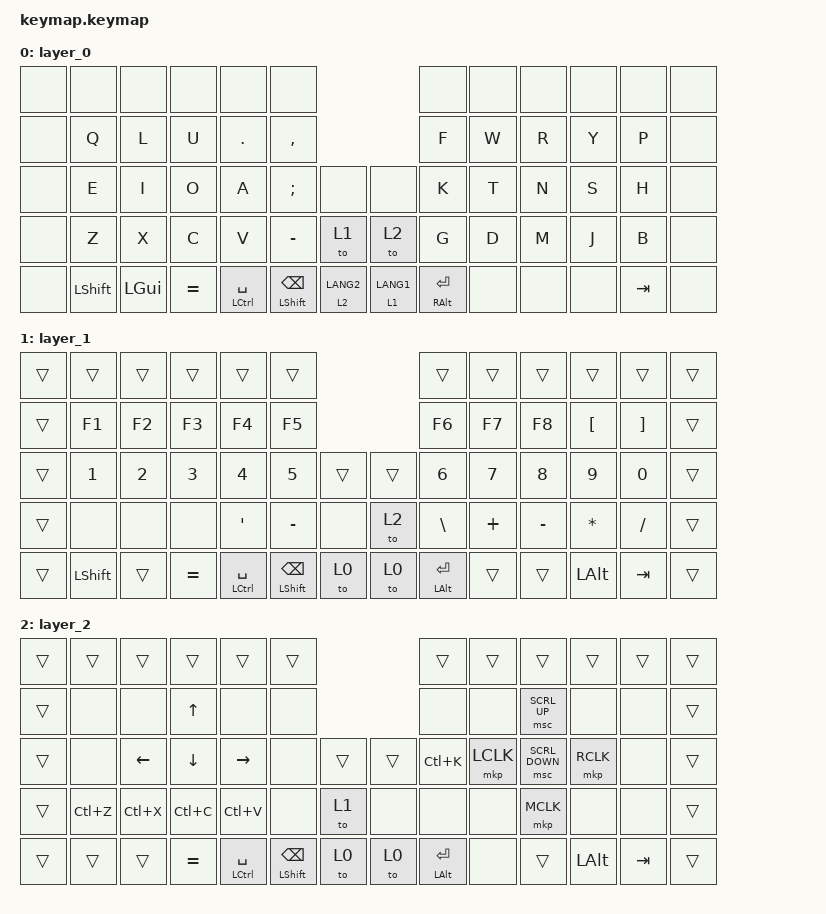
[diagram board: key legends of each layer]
#include <input/processors.dtsi>
#include <behaviors.dtsi>
#include <dt-bindings/zmk/bt.h>
#include <dt-bindings/zmk/keys.h>
#include <dt-bindings/zmk/pointing.h>

&zip_temp_layer {
    excluded-positions = <
        14
        19
        25
        26
        27
        32
        33
        34
        38
        39
        40
        41
        47
    >;
};

/ {
    combos {
        compatible = "zmk,combos";

        bt_clear {
            bindings = <&bt BT_CLR>;
            key-positions = <28 29>;
            layers = <2>;
        };
    };

    keymap {
        compatible = "zmk,keymap";

        layer_0 {
            bindings = <
&none  &none           &none     &none      &none            &none                                          &none                &none  &none  &none  &none    &none
&none  &kp Q           &kp L     &kp U      &kp PERIOD       &kp COMMA                                      &kp F                &kp W  &kp R  &kp Y  &kp P    &none
&none  &kp E           &kp I     &kp O      &kp A            &kp SEMICOLON        &none        &none        &kp K                &kp T  &kp N  &kp S  &kp H    &none
&none  &kp Z           &kp X     &kp C      &kp V            &kp MINUS            &to 1        &to 2        &kp G                &kp D  &kp M  &kp J  &kp B    &none
&none  &kp LEFT_SHIFT  &kp LGUI  &kp EQUAL  &mt LCTRL SPACE  &mt LSHFT BACKSPACE  &lt 2 LANG2  &lt 1 LANG1  &mt RIGHT_ALT ENTER  &none  &none  &none  &kp TAB  &none
            >;
        };

        layer_1 {
            bindings = <
&trans  &trans          &trans        &trans        &trans           &trans                                &trans              &trans    &trans     &trans            &trans             &trans
&trans  &kp F1          &kp F2        &kp F3        &kp F4           &kp F5                                &kp F6              &kp F7    &kp F8     &kp LEFT_BRACKET  &kp RIGHT_BRACKET  &trans
&trans  &kp NUMBER_1    &kp NUMBER_2  &kp NUMBER_3  &kp NUMBER_4     &kp N5                &trans  &trans  &kp NUMBER_6        &kp N7    &kp N8     &kp N9            &kp N0             &trans
&trans  &none           &none         &none         &kp SQT          &kp MINUS             &none   &to 2   &kp BACKSLASH       &kp PLUS  &kp MINUS  &kp ASTERISK      &kp SLASH          &trans
&trans  &kp LEFT_SHIFT  &trans        &kp EQUAL     &mt LCTRL SPACE  &mt LSHIFT BACKSPACE  &to 0   &to 0   &mt LEFT_ALT ENTER  &trans    &trans     &kp LEFT_ALT      &kp TAB            &trans
            >;
        };

        layer_2 {
            bindings = <
&trans  &trans     &trans          &trans          &trans           &trans                                    &trans              &trans     &trans          &trans        &trans   &trans
&trans  &none      &none           &kp UP_ARROW    &none            &none                                     &none               &none      &msc SCRL_UP    &none         &none    &trans
&trans  &none      &kp LEFT_ARROW  &kp DOWN_ARROW  &kp RIGHT_ARROW  &none                     &trans  &trans  &kp LC(K)           &mkp LCLK  &msc SCRL_DOWN  &mkp RCLK     &none    &trans
&trans  &kp LC(Z)  &kp LC(X)       &kp LC(C)       &kp LC(V)        &none                     &to 1   &none   &none               &none      &mkp MCLK       &none         &none    &trans
&trans  &trans     &trans          &kp EQUAL       &mt LCTRL SPACE  &mt LEFT_SHIFT BACKSPACE  &to 0   &to 0   &mt LEFT_ALT ENTER  &none      &trans          &kp LEFT_ALT  &kp TAB  &trans
            >;
        };
    };
};
